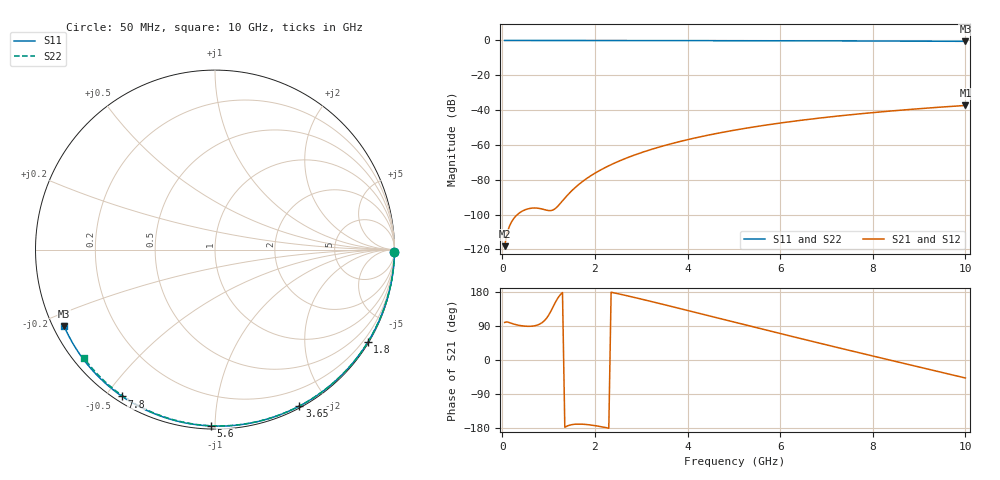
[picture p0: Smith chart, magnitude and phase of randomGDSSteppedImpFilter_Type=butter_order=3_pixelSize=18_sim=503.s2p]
! freq	dB(S11)	phase(S11)	dB(S12)	phase(S12)
!  dB(S21)	phase(S21)	dB(S22)	phase(S22)
!S-par simulation data
#  GHz  S  DB  R 50
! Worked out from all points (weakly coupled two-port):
!   200 points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, 50 MHz to 10 GHz, reference 50 ohm
!   highest |S21| = -37.33 dB at 10 GHz (marker M1); lowest = -118.1 dB at 50 MHz (marker M2)
!   lowest |S11| = -0.5 dB at 10 GHz (marker M3), VSWR 33.82, Z = 1.56 - j12 ohm
!   |S11| at or under -10 dB: nowhere
!   |S22| runs from -0.5 to 0.0 dB; largest |S21 - S12| = 0
!   S11 on the Smith chart (normalised r, x): 50 MHz: open; 1.8 GHz: 0.03, -3.58; 3.65 GHz: 0.02, -1.68; 5.6 GHz: 0.02, -0.98; 7.8 GHz: 0.02, -0.55; 10 GHz: 0.03, -0.24
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0.05  -0.00 -0.9  -118.14 99.1  -118.14 99.1  -0.00 -0.8
0.85  -0.02 -14.9  -96.74 97.8  -96.74 97.8  -0.02 -13.8
1.3  -0.03 -22.7  -92.10 178.0  -92.10 178.0  -0.03 -21.0
1.75  -0.04 -30.4  -80.66 -169.5  -80.66 -169.5  -0.04 -28.1
1.8  -0.04 -31.2  -79.69 -170.0  -79.69 -170.0  -0.04 -28.9
1.95  -0.04 -33.8  -77.05 -172.2  -77.05 -172.2  -0.04 -31.3
2.1  -0.05 -36.3  -74.71 -175.2  -74.71 -175.2  -0.04 -33.6
2.3  -0.05 -39.6  -71.96 -179.9  -71.96 -179.9  -0.05 -36.7
2.5  -0.05 -43.0  -69.53 174.9  -69.53 174.9  -0.05 -39.8
2.9  -0.06 -49.6  -65.37 163.7  -65.37 163.7  -0.06 -46.0
3.4  -0.08 -57.6  -61.12 148.9  -61.12 148.9  -0.07 -53.5
3.65  -0.08 -61.6  -59.30 141.4  -59.30 141.4  -0.08 -57.2
4.3  -0.10 -71.8  -55.19 121.6  -55.19 121.6  -0.09 -66.7
5.05  -0.13 -83.2  -51.34 98.7  -51.34 98.7  -0.12 -77.2
5.6  -0.15 -91.3  -48.97 82.0  -48.97 82.0  -0.14 -84.8
6.15  -0.18 -99.2  -46.88 65.4  -46.88 65.4  -0.16 -92.2
6.7  -0.21 -107.0  -45.04 48.9  -45.04 48.9  -0.19 -99.4
7.25  -0.24 -114.7  -43.40 32.6  -43.40 32.6  -0.23 -106.5
7.8  -0.28 -122.3  -41.93 16.4  -41.93 16.4  -0.26 -113.4
8.35  -0.33 -129.9  -40.61 0.4  -40.61 0.4  -0.31 -120.3
9.2  -0.42 -141.6  -38.79 -24.3  -38.79 -24.3  -0.39 -130.8
10  -0.51 -153.1  -37.33 -47.5  -37.33 -47.5  -0.47 -140.6
